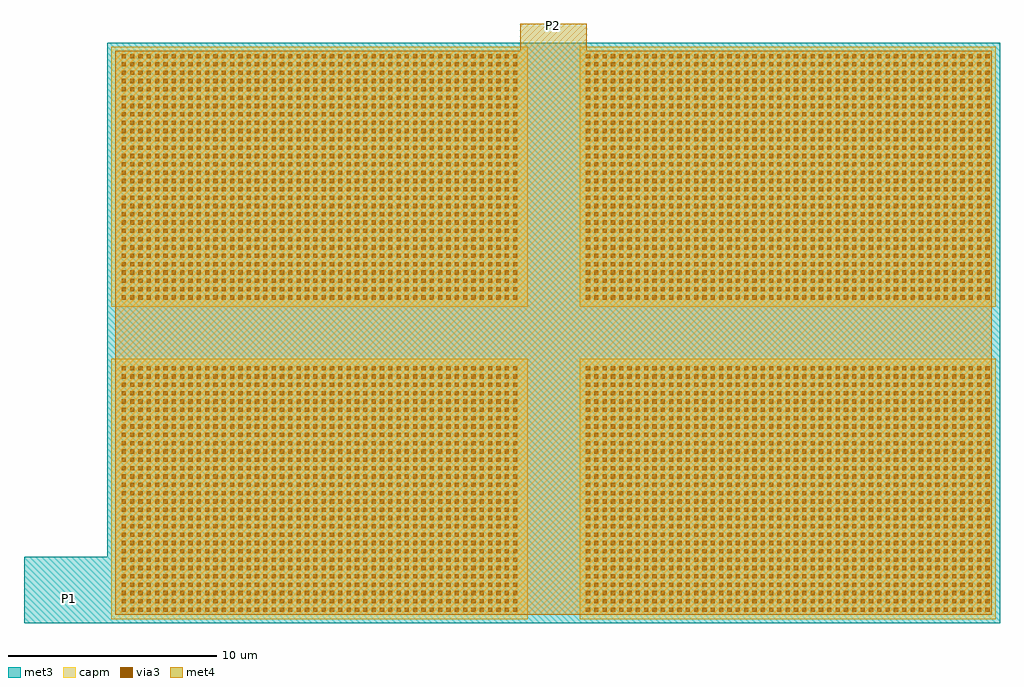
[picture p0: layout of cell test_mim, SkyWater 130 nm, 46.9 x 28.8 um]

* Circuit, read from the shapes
.subckt test_mim P1 P2
XC1 P2 P1 sky130_fd_pr__cap_mim_m3_1 w=20 l=12.5 m=4
.ends

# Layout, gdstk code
import gdstk
lib = gdstk.Library(unit=1e-6, precision=1e-09)
def R(c, l, rs):  # rectangles x0, y0, x1, y1
    for r in rs: c.add(gdstk.rectangle(r[:2], r[2:], *l))
def A(c, l, x, y, w, h, nx, ny, dx, dy):  # array of equal rectangles
    R(c, l, [(x+i*dx, y+j*dy, x+i*dx+w, y+j*dy+h) for i in range(nx) for j in range(ny)])
met3 = (70, 20)
via3 = (70, 44)
met4 = (71, 20)
capm = (89, 44)

test_mim = lib.new_cell('test_mim')
R(test_mim, met3, [(-4.2,-0.2,-0.2,3), (-0.2,-0.2,42.7,27.7)])
A(test_mim, via3, 0.5, 0.35, 0.2, 0.2, 48, 30, 0.4, 0.4)
A(test_mim, via3, 22.8, 0.35, 0.2, 0.2, 49, 30, 0.4, 0.4)
A(test_mim, via3, 0.5, 15.35, 0.2, 0.2, 48, 30, 0.4, 0.4)
A(test_mim, via3, 22.8, 15.35, 0.2, 0.2, 49, 30, 0.4, 0.4)
R(test_mim, met4, [(0.195,0.195,42.305,27.305), (19.65,27.305,22.85,28.6)])
R(test_mim, capm, [(0,0,20,12.5), (22.5,0,42.5,12.5), (0,15,20,27.5), (22.5,15,42.5,27.5)])
test_mim.add(gdstk.Label('P1', (-2,1), layer=70, texttype=5))
test_mim.add(gdstk.Label('P2', (21.25,28.5), layer=71, texttype=5))

lib.write_gds('test_mim.gds')
